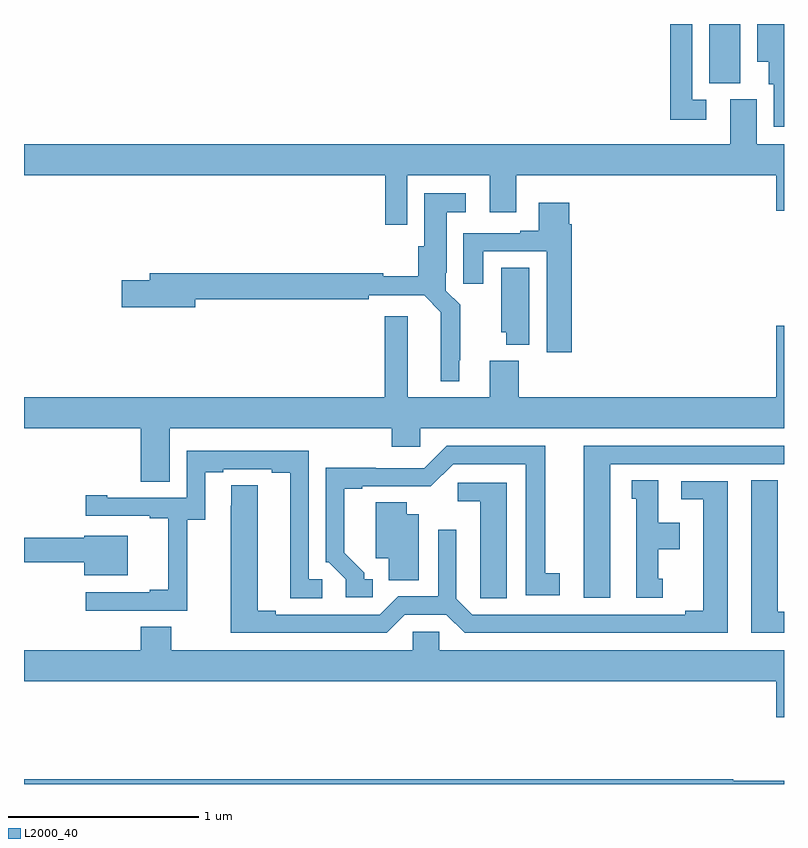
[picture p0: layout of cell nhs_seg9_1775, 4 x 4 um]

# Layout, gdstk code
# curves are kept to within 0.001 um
import gdstk
lib = gdstk.Library(unit=1e-6, precision=1e-09)
def R(c, l, rs):  # rectangles x0, y0, x1, y1
    for r in rs: c.add(gdstk.rectangle(r[:2], r[2:], *l))
def P(c, l, *ps):  # polygons
    for p in ps: c.add(gdstk.Polygon(p, *l))
L2000_40 = (2000, 40)

nhs_seg9_1775 = lib.new_cell('nhs_seg9_1775')
R(nhs_seg9_1775, L2000_40, [(212.606,1246.189,212.77,1246.5)])
P(nhs_seg9_1775, L2000_40, [(212.59,1246.101),(212.517,1246.101),(212.517,1246.5),(212.401,1246.5),(212.401,1245.996),(212.59,1245.996)],
  [(213,1246.498),(212.858,1246.498),(212.858,1246.301),(212.921,1246.301),(212.921,1246.182),(212.946,1246.182),(212.946,1245.96),(213,1245.96)],
  [(211.017,1245.704),(211.451,1245.704),(211.451,1245.51),(211.591,1245.51),(211.591,1245.704),(212.96,1245.704),(212.96,1245.516),(213,1245.516),(213,1245.868),(212.857,1245.868),(212.857,1246.104),(212.717,1246.104),(212.717,1245.868),(209,1245.868),(209,1245.704),(210.901,1245.704),(210.901,1245.444),(211.017,1245.444)],
  [(211.291,1244.731),(211.295,1244.731),(211.295,1245.022),(211.221,1245.096),(211.221,1245.19),(211.225,1245.19),(211.225,1245.509),(211.324,1245.509),(211.324,1245.61),(211.106,1245.61),(211.106,1245.33),(211.076,1245.33),(211.076,1245.173),(210.892,1245.173),(210.892,1245.188),(209.663,1245.188),(209.663,1245.152),(209.514,1245.152),(209.514,1245.01),(209.902,1245.01),(209.902,1245.052),(210.815,1245.052),(210.815,1245.072),(211.106,1245.072),(211.194,1244.984),(211.193,1244.621),(211.291,1244.621)],
  [(211.883,1245.446),(211.87,1245.446),(211.87,1245.559),(211.709,1245.559),(211.709,1245.412),(211.613,1245.412),(211.613,1245.399),(211.313,1245.399),(211.313,1245.132),(211.417,1245.132),(211.417,1245.303),(211.751,1245.303),(211.751,1244.772),(211.883,1244.772)],
  [(211.66,1245.218),(211.511,1245.218),(211.511,1244.877),(211.538,1244.877),(211.538,1244.813),(211.66,1244.813)],
  [(209.767,1244.372),(210.935,1244.372),(210.935,1244.274),(211.086,1244.274),(211.086,1244.372),(213,1244.372),(213,1244.911),(212.96,1244.911),(212.96,1244.536),(211.604,1244.536),(211.604,1244.728),(211.451,1244.728),(211.451,1244.536),(211.021,1244.536),(211.021,1244.962),(210.899,1244.962),(210.899,1244.536),(209,1244.536),(209,1244.372),(209.615,1244.372),(209.615,1244.092),(209.767,1244.092)],
  [(212.086,1244.184),(213,1244.184),(213,1244.28),(211.946,1244.28),(211.946,1243.479),(212.086,1243.479)],
  [(210.835,1243.578),(210.79,1243.578),(210.79,1243.613),(210.685,1243.718),(210.685,1244.055),(210.781,1244.055),(210.781,1244.067),(211.142,1244.066),(211.26,1244.184),(211.64,1244.184),(211.64,1243.494),(211.819,1243.494),(211.819,1243.61),(211.744,1243.61),(211.744,1244.28),(211.224,1244.28),(211.107,1244.163),(210.851,1244.163),(210.851,1244.165),(210.588,1244.165),(210.588,1243.668),(210.603,1243.668),(210.693,1243.578),(210.693,1243.482),(210.835,1243.482)],
  [(209.859,1243.891),(209.953,1243.891),(209.953,1244.142),(210.049,1244.142),(210.049,1244.157),(210.305,1244.157),(210.305,1244.137),(210.401,1244.137),(210.401,1243.477),(210.571,1243.477),(210.571,1243.578),(210.498,1243.578),(210.498,1244.253),(209.856,1244.253),(209.856,1244.007),(209.437,1244.007),(209.437,1244.02),(209.325,1244.02),(209.325,1243.911),(209.663,1243.911),(209.663,1243.899),(209.759,1243.899),(209.759,1243.522),(209.663,1243.522),(209.663,1243.509),(209.325,1243.509),(209.325,1243.413),(209.859,1243.413)],
  [(212.362,1243.581),(212.338,1243.581),(212.338,1243.736),(212.452,1243.736),(212.452,1243.876),(212.338,1243.876),(212.338,1244.099),(212.198,1244.099),(212.198,1244.001),(212.222,1244.001),(212.222,1243.479),(212.362,1243.479)],
  [(213,1243.407),(212.968,1243.407),(212.968,1244.099),(212.828,1244.099),(212.828,1243.296),(213,1243.296)],
  [(211.005,1243.392),(211.223,1243.392),(211.319,1243.296),(212.704,1243.296),(212.704,1244.094),(212.46,1244.094),(212.46,1243.998),(212.576,1243.998),(212.576,1243.412),(212.48,1243.412),(212.48,1243.392),(211.359,1243.392),(211.275,1243.476),(211.275,1243.837),(211.179,1243.837),(211.179,1243.488),(210.969,1243.488),(210.873,1243.392),(210.325,1243.392),(210.325,1243.412),(210.229,1243.412),(210.229,1244.072),(210.09,1244.072),(210.089,1243.296),(210.909,1243.296)],
  [(211.54,1244.085),(211.284,1244.085),(211.284,1243.988),(211.4,1243.988),(211.4,1243.585),(211.401,1243.585),(211.401,1243.477),(211.54,1243.477)],
  [(211.078,1243.921),(211.015,1243.921),(211.015,1243.982),(210.851,1243.982),(210.851,1243.688),(210.92,1243.688),(210.92,1243.573),(211.078,1243.573)],
  [(209.545,1243.807),(209.318,1243.807),(209.318,1243.796),(209,1243.796),(209,1243.668),(209.318,1243.668),(209.318,1243.598),(209.545,1243.598)],
  [(213,1243.204),(211.185,1243.204),(211.185,1243.302),(211.047,1243.302),(211.047,1243.204),(209.775,1243.204),(209.775,1243.328),(209.615,1243.328),(209.615,1243.204),(209,1243.204),(209,1243.04),(212.96,1243.04),(212.96,1242.852),(213,1242.852)],
  [(213,1242.517),(212.734,1242.517),(212.734,1242.524),(209,1242.524),(209,1242.5),(213,1242.5)])

lib.write_gds('nhs_seg9_1775.gds')
